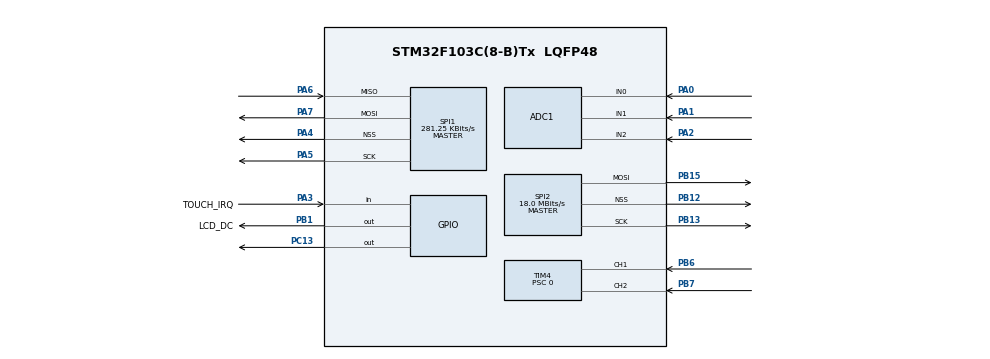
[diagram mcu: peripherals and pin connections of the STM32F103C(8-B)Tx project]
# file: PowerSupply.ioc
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ADC1.Channel-0\#ChannelRegularConversion=ADC_CHANNEL_0
ADC1.Channel-1\#ChannelRegularConversion=ADC_CHANNEL_1
ADC1.Channel-2\#ChannelRegularConversion=ADC_CHANNEL_2
ADC1.ContinuousConvMode=ENABLE
ADC1.EnableInjectedConversion=DISABLE
ADC1.ExternalTrigConv=ADC_SOFTWARE_START
ADC1.NbrOfConversion=3
ADC1.NbrOfConversionFlag=1
ADC1.Rank-0\#ChannelRegularConversion=1
ADC1.Rank-1\#ChannelRegularConversion=2
ADC1.Rank-2\#ChannelRegularConversion=3
ADC1.SamplingTime-0\#ChannelRegularConversion=ADC_SAMPLETIME_55CYCLES_5
ADC1.SamplingTime-1\#ChannelRegularConversion=ADC_SAMPLETIME_55CYCLES_5
ADC1.SamplingTime-2\#ChannelRegularConversion=ADC_SAMPLETIME_55CYCLES_5
ADC1.master=1
Dma.ADC1.0.Direction=DMA_PERIPH_TO_MEMORY
Dma.ADC1.0.Instance=DMA1_Channel1
Dma.ADC1.0.MemDataAlignment=DMA_MDATAALIGN_HALFWORD
Dma.ADC1.0.MemInc=DMA_MINC_ENABLE
Dma.ADC1.0.Mode=DMA_NORMAL
Dma.ADC1.0.PeriphDataAlignment=DMA_PDATAALIGN_HALFWORD
Dma.ADC1.0.PeriphInc=DMA_PINC_DISABLE
Dma.ADC1.0.Priority=DMA_PRIORITY_LOW
Dma.Request0=ADC1
Mcu.Family=STM32F1
Mcu.Name=STM32F103C(8-B)Tx
Mcu.Package=LQFP48
NVIC.DMA1_Channel1_IRQn=true\:0\:0\:false\:false\:true\:false\:true\:true
NVIC.PriorityGroup=NVIC_PRIORITYGROUP_4
NVIC.TIM3_IRQn=true\:1\:0\:true\:false\:true\:true\:true\:true
PA0-WKUP.Signal=ADCx_IN0
PA1.Signal=ADCx_IN1
PA13.Mode=Trace_Asynchronous_SW
PA13.Signal=SYS_JTMS-SWDIO
PA14.Mode=Trace_Asynchronous_SW
PA14.Signal=SYS_JTCK-SWCLK
PA2.Signal=ADCx_IN2
PA3.GPIO_Label=TOUCH_IRQ
PA3.GPIO_PuPd=GPIO_PULLUP
PA3.Signal=GPIO_Input
PA4.Mode=NSS_Signal_Hard_Output
PA4.Signal=SPI1_NSS
PA5.Mode=Full_Duplex_Master
PA5.Signal=SPI1_SCK
PA6.Mode=Full_Duplex_Master
PA6.Signal=SPI1_MISO
PA7.Mode=Full_Duplex_Master
PA7.Signal=SPI1_MOSI
PB1.GPIO_Label=LCD_DC
PB1.GPIO_Speed=GPIO_SPEED_FREQ_HIGH
PB1.Signal=GPIO_Output
PB12.Mode=NSS_Signal_Hard_Output
PB12.Signal=SPI2_NSS
PB13.Mode=TX_Only_Simplex_Unidirect_Master
PB13.Signal=SPI2_SCK
PB15.Mode=TX_Only_Simplex_Unidirect_Master
PB15.Signal=SPI2_MOSI
PB3.Mode=Trace_Asynchronous_SW
PB3.Signal=SYS_JTDO-TRACESWO
PB6.GPIO_PuPd=GPIO_PULLUP
PB6.Signal=S_TIM4_CH1
PB7.GPIO_PuPd=GPIO_PULLUP
PB7.Signal=S_TIM4_CH2
PC13-TAMPER-RTC.GPIO_Speed=GPIO_SPEED_FREQ_HIGH
PC13-TAMPER-RTC.Signal=GPIO_Output
PD0-OSC_IN.Mode=HSE-External-Oscillator
PD0-OSC_IN.Signal=RCC_OSC_IN
PD1-OSC_OUT.Mode=HSE-External-Oscillator
PD1-OSC_OUT.Signal=RCC_OSC_OUT
ProjectManager.HeapSize=0x200
ProjectManager.StackSize=0x400
ProjectManager.TargetToolchain=STM32CubeIDE
RCC.ADCPresc=RCC_ADCPCLK2_DIV6
RCC.AHBFreq_Value=72000000
RCC.APB1CLKDivider=RCC_HCLK_DIV2
RCC.APB1Freq_Value=36000000
RCC.APB1TimFreq_Value=72000000
RCC.APB2Freq_Value=72000000
RCC.APB2TimFreq_Value=72000000
RCC.HCLKFreq_Value=72000000
RCC.PLLMUL=RCC_PLL_MUL9
RCC.PLLSourceVirtual=RCC_PLLSOURCE_HSE
RCC.SYSCLKFreq_VALUE=72000000
RCC.SYSCLKSource=RCC_SYSCLKSOURCE_PLLCLK
RCC.USBFreq_Value=72000000
SH.ADCx_IN0.0=ADC1_IN0,IN0
SH.ADCx_IN1.0=ADC1_IN1,IN1
SH.ADCx_IN2.0=ADC1_IN2,IN2
SH.S_TIM4_CH1.0=TIM4_CH1,Encoder_Interface
SH.S_TIM4_CH2.0=TIM4_CH2,Encoder_Interface
SPI1.BaudRatePrescaler=SPI_BAUDRATEPRESCALER_256
SPI1.CalculateBaudRate=281.25 KBits/s
SPI1.Direction=SPI_DIRECTION_2LINES
SPI1.Mode=SPI_MODE_MASTER
SPI1.VirtualNSS=VM_NSSHARD
SPI1.VirtualType=VM_MASTER
SPI2.CalculateBaudRate=18.0 MBits/s
SPI2.Direction=SPI_DIRECTION_2LINES
SPI2.Mode=SPI_MODE_MASTER
SPI2.VirtualNSS=VM_NSSHARD
SPI2.VirtualType=VM_MASTER
TIM3.Period=19
TIM3.Prescaler=35999
TIM3.TIM_MasterOutputTrigger=TIM_TRGO_UPDATE
TIM4.AutoReloadPreload=TIM_AUTORELOAD_PRELOAD_ENABLE
TIM4.ClockDivision=TIM_CLOCKDIVISION_DIV1
TIM4.CounterMode=TIM_COUNTERMODE_UP
TIM4.EncoderMode=TIM_ENCODERMODE_TI1
TIM4.IC1Filter=10
TIM4.IC1Prescaler=TIM_ICPSC_DIV1
TIM4.IC2Filter=10
TIM4.IC2Prescaler=TIM_ICPSC_DIV1
TIM4.Prescaler=0
VP_TIM3_VS_ClockSourceINT.Mode=Internal
board=custom

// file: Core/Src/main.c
/* USER CODE BEGIN Header */
/**
 ******************************************************************************
 * @file           : main.c
 * @brief          : Main program body
 ******************************************************************************
 * @attention
 *
 * Copyright (c) 2023 STMicroelectronics.
 * All rights reserved.
 *
 * This software is licensed under terms that can be found in the LICENSE file
 * in the root directory of this software component.
 * If no LICENSE file comes with this software, it is provided AS-IS.
 *
 ******************************************************************************
 */
/* USER CODE END Header */
#include "main.h"

/* USER CODE BEGIN Includes */
#include "ili9341.h"
#include "xpt2046.h"
#include <stdio.h>

#include "fonts/Font_3_Tiny.h"
#include "fonts/Font_3_PicoPixel.h"
#include "fonts/Font_3_TomThumb_Extended.h"
#include "fonts/Font_5_Org.h"
#include "fonts/Font_8_Sinclair.h"
#include "fonts/Font_8_Sinclair_Inverted.h"
#include "fonts/Font_8_Tiny.h"
#include "fonts/Font_8_Myke.h"
#include "fonts/Font_8_Default.h"
#include "fonts/Font_8_Retro.h"
#include "fonts/Font_9_Mono.h"
#include "fonts/Font_9_Mono_Bold.h"
#include "fonts/Font_9_Mono_Bold_Oblique.h"
#include "fonts/Font_9_Mono_Oblique.h"
#include "fonts/Font_9_Sans.h"
#include "fonts/Font_9_Sans_Bold.h"
#include "fonts/Font_9_Sans_Bold_Oblique.h"
#include "fonts/Font_9_Sans_Oblique.h"
#include "fonts/Font_9_Serif.h"
#include "fonts/Font_9_Serif_Bold.h"
#include "fonts/Font_9_Serif_Bold_Italic.h"
#include "fonts/Font_9_Serif_Italic.h"
#include "fonts/Font_12_Mono.h"
#include "fonts/Font_12_Mono_Bold.h"
#include "fonts/Font_12_Mono_Bold_Oblique.h"
#include "fonts/Font_12_Mono_Oblique.h"
#include "fonts/Font_12_Sans.h"
#include "fonts/Font_12_Sans_Bold.h"
#include "fonts/Font_12_Sans_Bold_Oblique.h"
#include "fonts/Font_12_Sans_Oblique.h"
#include "fonts/Font_12_Serif.h"
#include "fonts/Font_12_Serif_Bold.h"
#include "fonts/Font_12_Serif_Bold_Italic.h"
#include "fonts/Font_12_Serif_Italic.h"
#include "fonts/Font_16_Arial.h"
#include "fonts/Font_16_Arial_Bold.h"
#include "fonts/Font_16_Arial_Italic.h"
#include "fonts/Font_16_Default.h"
#include "fonts/Font_16_FranklinGothic.h"
#include "fonts/Font_16_Hallfetica.h"
#include "fonts/Font_16_Nadianne.h"
#include "fonts/Font_16_Sinclair.h"
#include "fonts/Font_16_Sinclair_Inverted.h"
#include "fonts/Font_16_Swiss_Outline.h"
#include "fonts/Font_16_Matrix_Full.h"
#include "fonts/Font_16_Matrix_Full_Slash.h"
#include "fonts/Font_16_Matrix_Num.h"
#include "fonts/Font_16_Arial_Round.h"
#include "fonts/Font_16_OCR.h"
#include "fonts/Font_16_Segment_16_Full.h"
#include "fonts/Font_16_Grotesk.h"
#include "fonts/Font_16_Grotesk_Bold.h"
#include "fonts/Font_16_Retro.h"
#include "fonts/Font_18_Mono.h"
#include "fonts/Font_18_Mono_Bold.h"
#include "fonts/Font_18_Mono_Bold_Oblique.h"
#include "fonts/Font_18_Mono_Oblique.h"
#include "fonts/Font_18_Sans.h"
#include "fonts/Font_18_Sans_Bold.h"
#include "fonts/Font_18_Sans_Bold_Oblique.h"
#include "fonts/Font_18_Sans_Oblique.h"
#include "fonts/Font_18_Serif.h"
#include "fonts/Font_18_Serif_Bold.h"
#include "fonts/Font_18_Serif_Bold_Italic.h"
#include "fonts/Font_18_Serif_Italic.h"
#include "fonts/Font_24_Matrix_Num.h"
#include "fonts/Font_24_Inconsola.h"
#include "fonts/Font_24_Ubuntu.h"
#include "fonts/Font_24_Ubuntu_Bold.h"
#include "fonts/Font_24_Segment_7_Num.h"
#include "fonts/Font_24_Segment_16_Full.h"
#include "fonts/Font_24_Mono.h"
#include "fonts/Font_24_Mono_Bold.h"
#include "fonts/Font_24_Mono_Bold_Oblique.h"
#include "fonts/Font_24_Mono_Oblique.h"
#include "fonts/Font_24_Grotesk.h"
#include "fonts/Font_24_Grotesk_Bold.h"
#include "fonts/Font_24_Sans.h"
#include "fonts/Font_24_Sans_Bold.h"
#include "fonts/Font_24_Sans_Bold_Oblique.h"
#include "fonts/Font_24_Sans_Oblique.h"
#include "fonts/Font_24_Serif.h"
#include "fonts/Font_24_Serif_Bold.h"
#include "fonts/Font_24_Serif_Bold_Italic.h"
#include "fonts/Font_24_SerifItalic.h"
#include "fonts/Font_32_Dingbats.h"
#include "fonts/Font_32_Special.h"
#include "fonts/Font_32_Calibri_Bold.h"
#include "fonts/Font_32_Arial_Num_Plus.h"
#include "fonts/Font_32_Matrix_Num.h"
#include "fonts/Font_32_Segment_7_Full.h"
#include "fonts/Font_32_Segment_7_Num_Plus.h"
#include "fonts/Font_32_Segment_16_Full.h"
#include "fonts/Font_32_Segment_18_Full.h"
#include "fonts/Font_32_Grotesk.h"
#include "fonts/Font_32_Grotesk_Bold.h"
#include "fonts/Font_40_Segment_16_Full.h"
#include "fonts/Font_48_Battery.h"
#include "fonts/Font_48_Segment_16_Num.h"
#include "fonts/Font_64_Segment_16_Num.h"
#include "fonts/Font_64_Segment_7_Num.h"
//#include "fonts/Font_96_Segment_7_Num.h"
//#include "fonts/Font_96_Segment_16_Num.h"
//#include "fonts/Font_128_Segment_16_Num.h"
/* USER CODE END Includes */

/* USER CODE BEGIN PD */
#define ADC_sSamp	4
#define ADC_coef	4
/* USER CODE END PD */

/* USER CODE BEGIN PV */
/* Private variables ---------------------------------------------------------*/
uint64_t millis = 0;

__IO uint16_t ADC_Data[3] = { 0 };
__IO uint8_t fl_adc;
__IO uint16_t mVolt = 0;
__IO uint16_t mAmp = 0;
__IO uint32_t mWatt = 0;
__IO uint16_t set_mVolt = 0;
__IO uint16_t set_mAmp = 0;

uint8_t touchIRQ = 0;
uint16_t touchX = 0, touchY = 0;

uint8_t scr = 0;
uint8_t l_scr = 254;

/* USER CODE END PV */

void SystemClock_Config(void);
static void MX_GPIO_Init(void);
static void MX_DMA_Init(void);
static void MX_SPI1_Init(void);
static void MX_SPI2_Init(void);
static void MX_ADC1_Init(void);
static void MX_TIM4_Init(void);
static void MX_TIM3_Init(void);
/* USER CODE BEGIN PFP */
/* Private function prototypes -----------------------------------------------*/
void loop(void);
void mainScr(void);
void settScrInit(void);
void settScr(void);
void writeNum(uint16_t x, uint16_t y, uint32_t num, const GFXfont *font,
		uint32_t color, uint8_t numAfterDot, char lBuff[]);
uint8_t isTouch(uint16_t xWindow, uint16_t yWindow, uint16_t width, uint16_t height);
/* USER CODE END PFP */

int main(void) {

	/* MCU Configuration--------------------------------------------------------*/

	/* Reset of all peripherals, Initializes the Flash interface and the Systick. */
	LL_APB2_GRP1_EnableClock(LL_APB2_GRP1_PERIPH_AFIO);
	LL_APB1_GRP1_EnableClock(LL_APB1_GRP1_PERIPH_PWR);

	/* System interrupt init*/
	NVIC_SetPriorityGrouping(NVIC_PRIORITYGROUP_4);

	/* SysTick_IRQn interrupt configuration */
	NVIC_SetPriority(SysTick_IRQn,
			NVIC_EncodePriority(NVIC_GetPriorityGrouping(), 15, 0));

	/** NOJTAG: JTAG-DP Disabled and SW-DP Enabled
	 */
	LL_GPIO_AF_Remap_SWJ_NOJTAG();

	/* Configure the system clock */
	SystemClock_Config();

	/* Initialize all configured peripherals */
	MX_GPIO_Init();
	MX_DMA_Init();
	MX_SPI1_Init();
	MX_SPI2_Init();
	MX_ADC1_Init();
	MX_TIM4_Init();
	MX_TIM3_Init();
	/* USER CODE BEGIN 2 */
	LL_DMA_ConfigTransfer(DMA1, LL_DMA_CHANNEL_1,
			LL_DMA_DIRECTION_PERIPH_TO_MEMORY | LL_DMA_MODE_CIRCULAR
					| LL_DMA_PERIPH_NOINCREMENT | LL_DMA_MEMORY_INCREMENT
					| LL_DMA_PDATAALIGN_HALFWORD | LL_DMA_MDATAALIGN_HALFWORD
					| LL_DMA_PRIORITY_HIGH);
	LL_DMA_ConfigAddresses(DMA1, LL_DMA_CHANNEL_1,
			LL_ADC_DMA_GetRegAddr(ADC1, LL_ADC_DMA_REG_REGULAR_DATA),
			(uint32_t) &ADC_Data, LL_DMA_DIRECTION_PERIPH_TO_MEMORY);
	LL_DMA_SetDataLength(DMA1, LL_DMA_CHANNEL_1, 3);
	LL_DMA_EnableIT_TC(DMA1, LL_DMA_CHANNEL_1);
	LL_DMA_EnableIT_TE(DMA1, LL_DMA_CHANNEL_1);
	LL_DMA_EnableChannel(DMA1, LL_DMA_CHANNEL_1);

	LL_ADC_Enable(ADC1);
	uint8_t wait_loop_index = ((LL_ADC_DELAY_ENABLE_CALIB_ADC_CYCLES * 32) >> 1);
	while (wait_loop_index != 0) {
		wait_loop_index--;
	}
	LL_ADC_StartCalibration(ADC1);
	while (LL_ADC_IsCalibrationOnGoing(ADC1) != 0) {
	}

	LL_ADC_REG_StartConversionSWStart(ADC1);
	LL_TIM_EnableIT_UPDATE(TIM3);
	LL_TIM_EnableCounter(TIM3);
	LL_TIM_EnableCounter(TIM4);
	LL_TIM_SetCounter(TIM4, 32767);
	LL_SYSTICK_EnableIT();

	LL_SPI_Enable(SPI1);
	LL_SPI_Enable(SPI2);
	LCD_Init();
	XPT2046_Init();

	char buff_enc[10] = "0";
	char l_buff_enc[10] = "0";

	uint64_t l_touchIRQ = 0;
	uint8_t isPressed = 0;
	uint8_t i;

	uint64_t prev_millis = 0;
	/* USER CODE END 2 */

	/* Infinite loop */
	/* USER CODE BEGIN WHILE */
	while (1) {
		uint32_t enc = LL_TIM_GetCounter(TIM4);

		if (isPressed && LL_GPIO_IsInputPinSet(GPIOA, LL_GPIO_PIN_3))
			isPressed = 0;
		if (millis - l_touchIRQ > 100
				&& !LL_GPIO_IsInputPinSet(GPIOA, LL_GPIO_PIN_3) && !isPressed) {
			touchX = getX();
			touchY = getY();
			if (touchX && touchY && touchY != 0x0DB) {
				LCD_Rect_Fill(touchX, touchY, 1, 1, WHITE);
				l_touchIRQ = millis;
				touchIRQ = 1;
				isPressed = 1;
			}
			//LL_GPIO_ResetOutputPin(GPIOA, LL_GPIO_PIN_6);
		}

		if (millis - prev_millis > 100) {
			prev_millis = millis;
			switch (scr) {
			case 0:
				mainScr();
				break;
			case 1:
				if (scr != l_scr) {
					settScrInit();
					l_scr = scr;
				}
				settScr();
				break;
			}

			sprintf(buff_enc, "enc:%ld", enc);
			LCD_FontRw(1, 239, buff_enc, l_buff_enc, _9_Sans, 1, YELLOW,
			BLACK);
			for (i = 0; i < 10; i++)
				l_buff_enc[i] = buff_enc[i];
		}
	}
	/* USER CODE END WHILE */

}

void SystemClock_Config(void) {
	LL_FLASH_SetLatency(LL_FLASH_LATENCY_2);
	while (LL_FLASH_GetLatency() != LL_FLASH_LATENCY_2) {
	}
	LL_RCC_HSE_Enable();

	/* Wait till HSE is ready */
	while (LL_RCC_HSE_IsReady() != 1) {

	}
	LL_RCC_PLL_ConfigDomain_SYS(LL_RCC_PLLSOURCE_HSE_DIV_1, LL_RCC_PLL_MUL_9);
	LL_RCC_PLL_Enable();

	/* Wait till PLL is ready */
	while (LL_RCC_PLL_IsReady() != 1) {

	}
	LL_RCC_SetAHBPrescaler(LL_RCC_SYSCLK_DIV_1);
	LL_RCC_SetAPB1Prescaler(LL_RCC_APB1_DIV_2);
	LL_RCC_SetAPB2Prescaler(LL_RCC_APB2_DIV_1);
	LL_RCC_SetSysClkSource(LL_RCC_SYS_CLKSOURCE_PLL);

	/* Wait till System clock is ready */
	while (LL_RCC_GetSysClkSource() != LL_RCC_SYS_CLKSOURCE_STATUS_PLL) {

	}
	LL_Init1msTick(72000000);
	LL_SetSystemCoreClock(72000000);
	LL_RCC_SetADCClockSource(LL_RCC_ADC_CLKSRC_PCLK2_DIV_6);
}

static void MX_ADC1_Init(void) {

	LL_ADC_InitTypeDef ADC_InitStruct = { 0 };
	LL_ADC_CommonInitTypeDef ADC_CommonInitStruct = { 0 };
	LL_ADC_REG_InitTypeDef ADC_REG_InitStruct = { 0 };

	LL_GPIO_InitTypeDef GPIO_InitStruct = { 0 };

	/* Peripheral clock enable */
	LL_APB2_GRP1_EnableClock(LL_APB2_GRP1_PERIPH_ADC1);

	LL_APB2_GRP1_EnableClock(LL_APB2_GRP1_PERIPH_GPIOA);
	/**ADC1 GPIO Configuration
	 PA0-WKUP   ------> ADC1_IN0
	 PA1   ------> ADC1_IN1
	 PA2   ------> ADC1_IN2
	 */
	GPIO_InitStruct.Pin = LL_GPIO_PIN_0 | LL_GPIO_PIN_1 | LL_GPIO_PIN_2;
	GPIO_InitStruct.Mode = LL_GPIO_MODE_ANALOG;
	LL_GPIO_Init(GPIOA, &GPIO_InitStruct);

	/* ADC1 DMA Init */

	/* ADC1 Init */
	LL_DMA_SetDataTransferDirection(DMA1, LL_DMA_CHANNEL_1,
	LL_DMA_DIRECTION_PERIPH_TO_MEMORY);

	LL_DMA_SetChannelPriorityLevel(DMA1, LL_DMA_CHANNEL_1, LL_DMA_PRIORITY_LOW);

	LL_DMA_SetMode(DMA1, LL_DMA_CHANNEL_1, LL_DMA_MODE_NORMAL);

	LL_DMA_SetPeriphIncMode(DMA1, LL_DMA_CHANNEL_1, LL_DMA_PERIPH_NOINCREMENT);

	LL_DMA_SetMemoryIncMode(DMA1, LL_DMA_CHANNEL_1, LL_DMA_MEMORY_INCREMENT);

	LL_DMA_SetPeriphSize(DMA1, LL_DMA_CHANNEL_1, LL_DMA_PDATAALIGN_HALFWORD);

	LL_DMA_SetMemorySize(DMA1, LL_DMA_CHANNEL_1, LL_DMA_MDATAALIGN_HALFWORD);

	/** Common config
	 */
	ADC_InitStruct.DataAlignment = LL_ADC_DATA_ALIGN_RIGHT;
	ADC_InitStruct.SequencersScanMode = LL_ADC_SEQ_SCAN_ENABLE;
	LL_ADC_Init(ADC1, &ADC_InitStruct);
	ADC_CommonInitStruct.Multimode = LL_ADC_MULTI_INDEPENDENT;
	LL_ADC_CommonInit(__LL_ADC_COMMON_INSTANCE(ADC1), &ADC_CommonInitStruct);
	ADC_REG_InitStruct.TriggerSource = LL_ADC_REG_TRIG_SOFTWARE;
	ADC_REG_InitStruct.SequencerLength = LL_ADC_REG_SEQ_SCAN_ENABLE_3RANKS;
	ADC_REG_InitStruct.SequencerDiscont = LL_ADC_REG_SEQ_DISCONT_DISABLE;
	ADC_REG_InitStruct.ContinuousMode = LL_ADC_REG_CONV_CONTINUOUS;
	ADC_REG_InitStruct.DMATransfer = LL_ADC_REG_DMA_TRANSFER_UNLIMITED;
	LL_ADC_REG_Init(ADC1, &ADC_REG_InitStruct);

	/** Configure Regular Channel
	 */
	LL_ADC_REG_SetSequencerRanks(ADC1, LL_ADC_REG_RANK_1, LL_ADC_CHANNEL_0);
	LL_ADC_SetChannelSamplingTime(ADC1, LL_ADC_CHANNEL_0,
	LL_ADC_SAMPLINGTIME_55CYCLES_5);

	/** Configure Regular Channel
	 */
	LL_ADC_REG_SetSequencerRanks(ADC1, LL_ADC_REG_RANK_2, LL_ADC_CHANNEL_1);
	LL_ADC_SetChannelSamplingTime(ADC1, LL_ADC_CHANNEL_1,
	LL_ADC_SAMPLINGTIME_55CYCLES_5);

	/** Configure Regular Channel
	 */
	LL_ADC_REG_SetSequencerRanks(ADC1, LL_ADC_REG_RANK_3, LL_ADC_CHANNEL_2);
	LL_ADC_SetChannelSamplingTime(ADC1, LL_ADC_CHANNEL_2,
	LL_ADC_SAMPLINGTIME_55CYCLES_5);

}

static void MX_SPI1_Init(void) {

	LL_SPI_InitTypeDef SPI_InitStruct = { 0 };

	LL_GPIO_InitTypeDef GPIO_InitStruct = { 0 };

	/* Peripheral clock enable */
	LL_APB2_GRP1_EnableClock(LL_APB2_GRP1_PERIPH_SPI1);

	LL_APB2_GRP1_EnableClock(LL_APB2_GRP1_PERIPH_GPIOA);
	/**SPI1 GPIO Configuration
	 PA4   ------> SPI1_NSS
	 PA5   ------> SPI1_SCK
	 PA6   ------> SPI1_MISO
	 PA7   ------> SPI1_MOSI
	 */
	GPIO_InitStruct.Pin = LL_GPIO_PIN_4 | LL_GPIO_PIN_5 | LL_GPIO_PIN_7;
	GPIO_InitStruct.Mode = LL_GPIO_MODE_ALTERNATE;
	GPIO_InitStruct.Speed = LL_GPIO_SPEED_FREQ_HIGH;
	GPIO_InitStruct.OutputType = LL_GPIO_OUTPUT_PUSHPULL;
	LL_GPIO_Init(GPIOA, &GPIO_InitStruct);

	GPIO_InitStruct.Pin = LL_GPIO_PIN_6;
	GPIO_InitStruct.Mode = LL_GPIO_MODE_FLOATING;
	LL_GPIO_Init(GPIOA, &GPIO_InitStruct);

	/* SPI1 parameter configuration*/
	SPI_InitStruct.TransferDirection = LL_SPI_FULL_DUPLEX;
	SPI_InitStruct.Mode = LL_SPI_MODE_MASTER;
	SPI_InitStruct.DataWidth = LL_SPI_DATAWIDTH_8BIT;
	SPI_InitStruct.ClockPolarity = LL_SPI_POLARITY_LOW;
	SPI_InitStruct.ClockPhase = LL_SPI_PHASE_1EDGE;
	SPI_InitStruct.NSS = LL_SPI_NSS_HARD_OUTPUT;
	SPI_InitStruct.BaudRate = LL_SPI_BAUDRATEPRESCALER_DIV256;
	SPI_InitStruct.BitOrder = LL_SPI_MSB_FIRST;
	SPI_InitStruct.CRCCalculation = LL_SPI_CRCCALCULATION_DISABLE;
	SPI_InitStruct.CRCPoly = 10;
	LL_SPI_Init(SPI1, &SPI_InitStruct);

}

static void MX_SPI2_Init(void) {

	LL_SPI_InitTypeDef SPI_InitStruct = { 0 };

	LL_GPIO_InitTypeDef GPIO_InitStruct = { 0 };

	/* Peripheral clock enable */
	LL_APB1_GRP1_EnableClock(LL_APB1_GRP1_PERIPH_SPI2);

	LL_APB2_GRP1_EnableClock(LL_APB2_GRP1_PERIPH_GPIOB);
	/**SPI2 GPIO Configuration
	 PB12   ------> SPI2_NSS
	 PB13   ------> SPI2_SCK
	 PB15   ------> SPI2_MOSI
	 */
	GPIO_InitStruct.Pin = LL_GPIO_PIN_12 | LL_GPIO_PIN_13 | LL_GPIO_PIN_15;
	GPIO_InitStruct.Mode = LL_GPIO_MODE_ALTERNATE;
	GPIO_InitStruct.Speed = LL_GPIO_SPEED_FREQ_HIGH;
	GPIO_InitStruct.OutputType = LL_GPIO_OUTPUT_PUSHPULL;
	LL_GPIO_Init(GPIOB, &GPIO_InitStruct);

	/* SPI2 parameter configuration*/
	SPI_InitStruct.TransferDirection = LL_SPI_FULL_DUPLEX;
	SPI_InitStruct.Mode = LL_SPI_MODE_MASTER;
	SPI_InitStruct.DataWidth = LL_SPI_DATAWIDTH_8BIT;
	SPI_InitStruct.ClockPolarity = LL_SPI_POLARITY_LOW;
	SPI_InitStruct.ClockPhase = LL_SPI_PHASE_1EDGE;
	SPI_InitStruct.NSS = LL_SPI_NSS_HARD_OUTPUT;
	SPI_InitStruct.BaudRate = LL_SPI_BAUDRATEPRESCALER_DIV2;
	SPI_InitStruct.BitOrder = LL_SPI_MSB_FIRST;
	SPI_InitStruct.CRCCalculation = LL_SPI_CRCCALCULATION_DISABLE;
	SPI_InitStruct.CRCPoly = 10;
	LL_SPI_Init(SPI2, &SPI_InitStruct);

}

static void MX_TIM3_Init(void) {

	LL_TIM_InitTypeDef TIM_InitStruct = { 0 };

	/* Peripheral clock enable */
	LL_APB1_GRP1_EnableClock(LL_APB1_GRP1_PERIPH_TIM3);

	/* TIM3 interrupt Init */
	NVIC_SetPriority(TIM3_IRQn,
			NVIC_EncodePriority(NVIC_GetPriorityGrouping(), 1, 0));
	NVIC_EnableIRQ(TIM3_IRQn);

	TIM_InitStruct.Prescaler = 35999;
	TIM_InitStruct.CounterMode = LL_TIM_COUNTERMODE_UP;
	TIM_InitStruct.Autoreload = 19;
	TIM_InitStruct.ClockDivision = LL_TIM_CLOCKDIVISION_DIV1;
	LL_TIM_Init(TIM3, &TIM_InitStruct);
	LL_TIM_DisableARRPreload(TIM3);
	LL_TIM_SetClockSource(TIM3, LL_TIM_CLOCKSOURCE_INTERNAL);
	LL_TIM_SetTriggerOutput(TIM3, LL_TIM_TRGO_UPDATE);
	LL_TIM_DisableMasterSlaveMode(TIM3);

}

static void MX_TIM4_Init(void) {

	LL_TIM_InitTypeDef TIM_InitStruct = { 0 };

	LL_GPIO_InitTypeDef GPIO_InitStruct = { 0 };

	/* Peripheral clock enable */
	LL_APB1_GRP1_EnableClock(LL_APB1_GRP1_PERIPH_TIM4);

	LL_APB2_GRP1_EnableClock(LL_APB2_GRP1_PERIPH_GPIOB);
	/**TIM4 GPIO Configuration
	 PB6   ------> TIM4_CH1
	 PB7   ------> TIM4_CH2
	 */
	GPIO_InitStruct.Pin = LL_GPIO_PIN_6 | LL_GPIO_PIN_7;
	GPIO_InitStruct.Mode = LL_GPIO_MODE_INPUT;
	GPIO_InitStruct.Pull = LL_GPIO_PULL_UP;
	LL_GPIO_Init(GPIOB, &GPIO_InitStruct);

	LL_TIM_SetEncoderMode(TIM4, LL_TIM_ENCODERMODE_X2_TI1);
	LL_TIM_IC_SetActiveInput(TIM4, LL_TIM_CHANNEL_CH1,
	LL_TIM_ACTIVEINPUT_DIRECTTI);
	LL_TIM_IC_SetPrescaler(TIM4, LL_TIM_CHANNEL_CH1, LL_TIM_ICPSC_DIV1);
	LL_TIM_IC_SetFilter(TIM4, LL_TIM_CHANNEL_CH1, LL_TIM_IC_FILTER_FDIV16_N5);
	LL_TIM_IC_SetPolarity(TIM4, LL_TIM_CHANNEL_CH1, LL_TIM_IC_POLARITY_RISING);
	LL_TIM_IC_SetActiveInput(TIM4, LL_TIM_CHANNEL_CH2,
	LL_TIM_ACTIVEINPUT_DIRECTTI);
	LL_TIM_IC_SetPrescaler(TIM4, LL_TIM_CHANNEL_CH2, LL_TIM_ICPSC_DIV1);
	LL_TIM_IC_SetFilter(TIM4, LL_TIM_CHANNEL_CH2, LL_TIM_IC_FILTER_FDIV16_N5);
	LL_TIM_IC_SetPolarity(TIM4, LL_TIM_CHANNEL_CH2, LL_TIM_IC_POLARITY_RISING);
	TIM_InitStruct.Prescaler = 0;
	TIM_InitStruct.CounterMode = LL_TIM_COUNTERMODE_UP;
	TIM_InitStruct.Autoreload = 65535;
	TIM_InitStruct.ClockDivision = LL_TIM_CLOCKDIVISION_DIV1;
	LL_TIM_Init(TIM4, &TIM_InitStruct);
	LL_TIM_EnableARRPreload(TIM4);
	LL_TIM_SetTriggerOutput(TIM4, LL_TIM_TRGO_RESET);
	LL_TIM_DisableMasterSlaveMode(TIM4);

}

static void MX_DMA_Init(void) {

	/* Init with LL driver */
	/* DMA controller clock enable */
	LL_AHB1_GRP1_EnableClock(LL_AHB1_GRP1_PERIPH_DMA1);

	/* DMA interrupt init */
	/* DMA1_Channel1_IRQn interrupt configuration */
	NVIC_SetPriority(DMA1_Channel1_IRQn,
			NVIC_EncodePriority(NVIC_GetPriorityGrouping(), 0, 0));
	NVIC_EnableIRQ(DMA1_Channel1_IRQn);

}

static void MX_GPIO_Init(void) {
	LL_GPIO_InitTypeDef GPIO_InitStruct = { 0 };

	/* GPIO Ports Clock Enable */
	LL_APB2_GRP1_EnableClock(LL_APB2_GRP1_PERIPH_GPIOC);
	LL_APB2_GRP1_EnableClock(LL_APB2_GRP1_PERIPH_GPIOD);
	LL_APB2_GRP1_EnableClock(LL_APB2_GRP1_PERIPH_GPIOA);
	LL_APB2_GRP1_EnableClock(LL_APB2_GRP1_PERIPH_GPIOB);

	/**/
	LL_GPIO_ResetOutputPin(GPIOC, LL_GPIO_PIN_13);

	/**/
	LL_GPIO_ResetOutputPin(LCD_DC_GPIO_Port, LCD_DC_Pin);

	/**/
	GPIO_InitStruct.Pin = LL_GPIO_PIN_13;
	GPIO_InitStruct.Mode = LL_GPIO_MODE_OUTPUT;
	GPIO_InitStruct.Speed = LL_GPIO_SPEED_FREQ_HIGH;
	GPIO_InitStruct.OutputType = LL_GPIO_OUTPUT_PUSHPULL;
	LL_GPIO_Init(GPIOC, &GPIO_InitStruct);

	/**/
	GPIO_InitStruct.Pin = TOUCH_IRQ_Pin;
	GPIO_InitStruct.Mode = LL_GPIO_MODE_INPUT;
	GPIO_InitStruct.Pull = LL_GPIO_PULL_UP;
	LL_GPIO_Init(TOUCH_IRQ_GPIO_Port, &GPIO_InitStruct);

	/**/
	GPIO_InitStruct.Pin = LCD_DC_Pin;
	GPIO_InitStruct.Mode = LL_GPIO_MODE_OUTPUT;
	GPIO_InitStruct.Speed = LL_GPIO_SPEED_FREQ_HIGH;
	GPIO_InitStruct.OutputType = LL_GPIO_OUTPUT_PUSHPULL;
	LL_GPIO_Init(LCD_DC_GPIO_Port, &GPIO_InitStruct);

}

/* USER CODE BEGIN 4 */
#define yBase_v	39
#define yBase_a	yBase_v + 38
#define yBase_w	yBase_a + 38
#define xOffset	153 + 2

void mainScr(void) {
	static uint8_t subScr = 0;
	static uint8_t l_subScr = 254;

	uint8_t i;
	static uint32_t color;

	static char l_buff_v[6];
	static char l_buff_a[6];
	static char l_buff_w[6];
	static char l_buff_setv[6];
	static char l_buff_seta[6];

	static uint64_t changeColorT;

	if (scr != l_scr) {
		LCD_Rect_Fill(0, 0, 320, 240, BLACK);
		LCD_Rect(0, 0, 320, 240, 1, BLUE);

		LCD_Font(122 + xOffset, yBase_v - 2, "V", _18_Sans, 1, GREEN);
		LCD_Font(122 + xOffset, yBase_a - 2, "A", _18_Sans, 1, YELLOW);

		LCD_Font(122, yBase_v - 2, "V", _18_Sans, 1, GREEN);
		LCD_Font(122, yBase_a - 2, "A", _18_Sans, 1, YELLOW);
		LCD_Font(122, yBase_w - 2, "W", _18_Sans, 1, MAGENTA);

		for (i = 0; i < 5; i++) {
			l_buff_v[i] = 0;
			l_buff_a[i] = 0;
			l_buff_w[i] = 0;
		}
		subScr = 0;
		l_subScr = 254;
		l_scr = scr;
	}

	if (subScr != l_subScr) {
		for (i = 0; i < 5; i++) {
			l_buff_setv[i] = 0;
			l_buff_seta[i] = 0;
		}
		writeNum(xOffset, yBase_v, set_mVolt, _24_Segment_7_Num, GREEN, 2,
				l_buff_setv);
		writeNum(xOffset, yBase_a, set_mAmp, _24_Segment_7_Num, YELLOW, 3,
				l_buff_seta);

		color = BLACK;
		l_subScr = subScr;
	}

	writeNum(2, yBase_v, mVolt, _24_Segment_7_Num, GREEN, 2, l_buff_v);
	writeNum(2, yBase_a, mAmp, _24_Segment_7_Num, YELLOW, 3, l_buff_a);

	switch (subScr) {
	case 0:
		if (isTouch(xOffset, 0, xOffset, 38)) {
			subScr = 1;
			touchIRQ = 0;
		} else if (isTouch(xOffset, yBase_v, xOffset, 38)) {
			subScr = 2;
			touchIRQ = 0;
		}
		break;
	case 1:

		if (millis - changeColorT > 500) {
			if (color == BLACK) {
				color = GREEN;
			} else {
				color = BLACK;
				LCD_Font(xOffset, yBase_v, l_buff_setv, _24_Segment_7_Num, 1,
						BLACK);
				for (i = 0; i < 5; i++)
					l_buff_setv[i] = 0;

			}
			changeColorT = millis;
		}
		if (color == GREEN) {
			writeNum(xOffset, yBase_v, set_mVolt, _24_Segment_7_Num, color, 2,
					l_buff_setv);

		}
		if (isTouch(xOffset, 0, xOffset, 38)) {
			subScr = 0;
			touchIRQ = 0;
		}
		break;
	case 2:
		if (millis - changeColorT > 500) {
			if (color == BLACK) {
				color = YELLOW;
			} else {
				color = BLACK;
				LCD_Font(xOffset, yBase_a, l_buff_seta, _24_Segment_7_Num, 1,
						BLACK);
				for (i = 0; i < 5; i++)
					l_buff_seta[i] = 0;
			}
			changeColorT = millis;
		}
		if (color == YELLOW) {
			writeNum(xOffset, yBase_a, set_mAmp, _24_Segment_7_Num, color, 3,
					l_buff_seta);

		}
		if (isTouch(xOffset, yBase_v, xOffset, 38)) {
			subScr = 0;
			touchIRQ = 0;
		}
		break;
	}

	if (mWatt < 10000)
		writeNum(2, yBase_w, mWatt, _24_Segment_7_Num, MAGENTA, 3, l_buff_w);
	else if (mWatt < 100000)
		writeNum(2, yBase_w, mWatt, _24_Segment_7_Num, MAGENTA, 2, l_buff_w);
	else
		writeNum(2, yBase_w, mWatt, _24_Segment_7_Num, MAGENTA, 1, l_buff_w);
	if (isTouch(270, 190, 50, 50)) {
		scr = 1;
		touchIRQ = 0;
	}
}

void settScrInit(void) {
	LCD_Rect_Fill(0, 0, 320, 240, BLACK);
}

void settScr(void) {
	char buff[6];
	sprintf(buff, "hello");
	LCD_Font(0, 193, buff, _9_Sans, 1, MAGENTA);
	if (isTouch(270, 190, 50, 50)) {
		scr = 0;
		touchIRQ = 0;
	}
}

void writeNum(uint16_t x, uint16_t y, uint32_t num, const GFXfont *font,
		uint32_t color, uint8_t numAfterDot, char lBuff[]) {
	char buff[6] = "0";
	if (numAfterDot == 1) {
		sprintf(buff, "%03ld.%01ld", num / 1000, (num % 1000) / 100);

	} else if (numAfterDot == 2) {
		sprintf(buff, "%02ld.%02ld", num / 1000, (num % 1000) / 10);

	} else if (numAfterDot == 3) {
		sprintf(buff, "%01ld.%03ld", num / 1000, num % 1000);

	}

	LCD_FontRw(x, y, buff, lBuff, font, 1, color,
	BLACK);
	memcpy((void*) lBuff, (void*) buff, (sizeof(char) * 5));
}

uint8_t isTouch(uint16_t xWindow, uint16_t yWindow, uint16_t width, uint16_t height) {
	if (touchIRQ && touchX > xWindow && touchX < xWindow + width
			&& touchY > yWindow && touchY < yWindow + height)
		return 1;
	else
		return 0;
}

void TIM3_Callback(void) {
	if (LL_TIM_IsActiveFlag_UPDATE(TIM3)) {
		LL_TIM_ClearFlag_UPDATE(TIM3);

		LL_GPIO_ResetOutputPin(GPIOC, LL_GPIO_PIN_13);

		uint16_t ADC_filt[3] = { 0 };
		for (uint8_t i = 0; i < ADC_sSamp; i++) {
			fl_adc = 0;
			while (!fl_adc) {
			}
			ADC_filt[0] += ADC_Data[0];
			ADC_filt[1] += ADC_Data[1];
			ADC_filt[2] += ADC_Data[2];
		}
		ADC_filt[0] /= ADC_sSamp;
		ADC_filt[1] /= ADC_sSamp;
		ADC_filt[2] /= ADC_sSamp;

		mVolt += ((ADC_filt[0] * 8) - mVolt) >> ADC_coef;
		mAmp += ((ADC_filt[1] * 2) - mAmp) >> ADC_coef;
		mWatt = (mVolt * mAmp) / 1000;

		LL_GPIO_SetOutputPin(GPIOC, LL_GPIO_PIN_13);
	}
}

void ADC_DMA_TransferComplete_Callback() {
	fl_adc = 1;
}

void SysTick_Callback() {
	millis++;
}
/* USER CODE END 4 */

void Error_Handler(void) {
	while (1) {
	}
}
